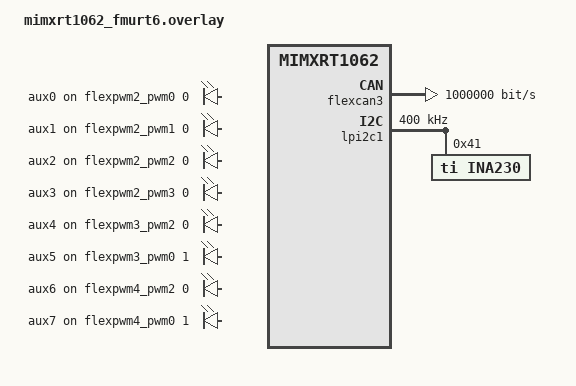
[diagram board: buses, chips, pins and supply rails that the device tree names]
/* SPDX-License-Identifier: Apache-2.0 */
/* Copyright 2023 CogniPilot Foundation */
#include <zephyr/dt-bindings/sensor/ina230.h>

/ {
	pwm_shell: pwm_shell {
		compatible = "pwm-leds";
		aux0: aux0 {
			pwms = <&flexpwm2_pwm0 0 PWM_HZ(50) PWM_POLARITY_NORMAL>;
		};
		aux1: aux1 {
			pwms = <&flexpwm2_pwm1 0 PWM_HZ(50) PWM_POLARITY_NORMAL>;
		};
		aux2: aux2 {
			pwms = <&flexpwm2_pwm2 0 PWM_HZ(50) PWM_POLARITY_NORMAL>;
		};
		aux3: aux3 {
			pwms = <&flexpwm2_pwm3 0 PWM_HZ(50) PWM_POLARITY_NORMAL>;
		};
		aux4: aux4 {
			pwms = <&flexpwm3_pwm2 0 PWM_HZ(50) PWM_POLARITY_NORMAL>;
		};
		aux5: aux5 {
			pwms = <&flexpwm3_pwm0 1 PWM_HZ(50) PWM_POLARITY_NORMAL>;
		};
		aux6: aux6 {
			pwms = <&flexpwm4_pwm2 0 PWM_HZ(50) PWM_POLARITY_NORMAL>;
		};
		aux7: aux7 {
			pwms = <&flexpwm4_pwm0 1 PWM_HZ(50) PWM_POLARITY_NORMAL>;
		};
	};

	chosen {
		zephyr,canbus = &flexcan3;
	};

	aliases {
		can0 = &flexcan3;
	};
};

&flexpwm2_pwm0 {
	nxp,prescaler = <64>;
};

&flexpwm2_pwm1 {
	nxp,prescaler = <64>;
};

&flexpwm2_pwm2 {
	nxp,prescaler = <64>;
};

&flexpwm2_pwm3 {
	nxp,prescaler = <64>;
};

&flexpwm3_pwm2 {
	nxp,prescaler = <64>;
};

&flexpwm3_pwm0 {
	nxp,prescaler = <64>;
};

&flexpwm4_pwm2 {
	nxp,prescaler = <64>;
};

&flexpwm4_pwm0 {
	nxp,prescaler = <64>;
};

&flexcan3 {
	status = "okay";
	bus-speed = <1000000>;
	bus-speed-data = <4000000>;
};

&flexcan1 {
	status = "disabled";
};

&lpi2c1 {
	status = "okay";
	pinctrl-0 = <&pinmux_lpi2c1>;
	pinctrl-names = "default";
	clock-frequency = <I2C_BITRATE_FAST>;

	ina230: ina230@41 {
		compatible = "ti,ina230";
		reg = <0x41>;
		config = <INA230_CONFIG(INA230_OPER_MODE_SHUNT_BUS_VOLTAGE_CONT,
								INA230_CONV_TIME_2116, 
								INA230_CONV_TIME_2116, 
								INA230_AVG_MODE_64)>;
		current-lsb-microamps = <5000>;
		rshunt-micro-ohms = <500>;
	};
};

&lpi2c2 {
	status = "disabled";
	pinctrl-0 = <&pinmux_lpi2c2>;
	pinctrl-names = "default";

	bmp388: bmp388@76 {
		compatible = "bosch,bmp388";
		reg = <0x76>;
		status = "disabled";
	};
};
